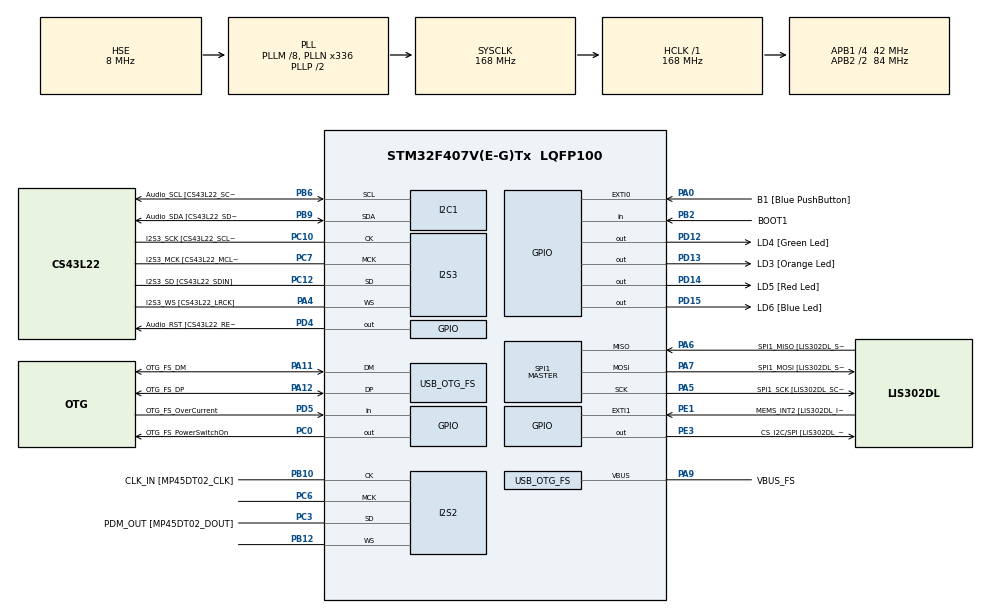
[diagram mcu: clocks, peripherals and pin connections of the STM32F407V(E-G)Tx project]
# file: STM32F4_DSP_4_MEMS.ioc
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Dma.Request0=SPI2_RX
Dma.Request1=SPI3_TX
Dma.SPI2_RX.0.Direction=DMA_PERIPH_TO_MEMORY
Dma.SPI2_RX.0.FIFOMode=DMA_FIFOMODE_DISABLE
Dma.SPI2_RX.0.Instance=DMA1_Stream3
Dma.SPI2_RX.0.MemDataAlignment=DMA_MDATAALIGN_HALFWORD
Dma.SPI2_RX.0.MemInc=DMA_MINC_ENABLE
Dma.SPI2_RX.0.Mode=DMA_CIRCULAR
Dma.SPI2_RX.0.PeriphDataAlignment=DMA_PDATAALIGN_HALFWORD
Dma.SPI2_RX.0.PeriphInc=DMA_PINC_DISABLE
Dma.SPI2_RX.0.Priority=DMA_PRIORITY_MEDIUM
Dma.SPI3_TX.1.Direction=DMA_MEMORY_TO_PERIPH
Dma.SPI3_TX.1.FIFOMode=DMA_FIFOMODE_DISABLE
Dma.SPI3_TX.1.Instance=DMA1_Stream5
Dma.SPI3_TX.1.MemDataAlignment=DMA_MDATAALIGN_HALFWORD
Dma.SPI3_TX.1.MemInc=DMA_MINC_ENABLE
Dma.SPI3_TX.1.Mode=DMA_NORMAL
Dma.SPI3_TX.1.PeriphDataAlignment=DMA_PDATAALIGN_HALFWORD
Dma.SPI3_TX.1.PeriphInc=DMA_PINC_DISABLE
Dma.SPI3_TX.1.Priority=DMA_PRIORITY_HIGH
I2S2.AudioFreq=I2S_AUDIOFREQ_16K
I2S2.ErrorAudioFreq=1.9 %
I2S2.FullDuplexMode=I2S_FULLDUPLEXMODE_DISABLE
I2S2.Instance=SPI$Index
I2S2.Mode=I2S_MODE_MASTER_RX
I2S2.RealAudioFreq=16.304 KHz
I2S2.VirtualMode=I2S_MODE_MASTER
I2S3.AudioFreq-Half_Duplex_Master=I2S_AUDIOFREQ_96K
I2S3.ErrorAudioFreq=-2.34 %
I2S3.ErrorAudioFreq-Half_Duplex_Master=0.8 %
I2S3.FullDuplexMode=I2S_FULLDUPLEXMODE_DISABLE
I2S3.Instance=SPI$Index
I2S3.RealAudioFreq=93.75 KHz
I2S3.RealAudioFreq-Half_Duplex_Master=96.774 KHz
I2S3.VirtualMode=I2S_MODE_MASTER
Mcu.Family=STM32F4
Mcu.Name=STM32F407V(E-G)Tx
Mcu.Package=LQFP100
NVIC.DMA1_Stream3_IRQn=true\:0\:0\:false\:false\:true\:false\:true\:true
NVIC.DMA1_Stream5_IRQn=true\:0\:0\:false\:false\:true\:false\:true\:true
NVIC.OTG_FS_IRQn=true\:0\:0\:false\:false\:true\:true\:true\:true
NVIC.PriorityGroup=NVIC_PRIORITYGROUP_0
PA0-WKUP.GPIO_Label=B1 [Blue PushButton]
PA0-WKUP.GPIO_ModeDefaultEXTI=GPIO_MODE_EVT_RISING
PA0-WKUP.GPIO_PuPd=GPIO_NOPULL
PA0-WKUP.Signal=GPXTI0
PA10.GPIO_Label=OTG_FS_ID
PA10.GPIO_Mode=GPIO_MODE_AF_PP
PA10.GPIO_PuPd=GPIO_NOPULL
PA10.GPIO_Speed=GPIO_SPEED_FREQ_LOW
PA10.Signal=USB_OTG_FS_ID
PA11.GPIO_Label=OTG_FS_DM
PA11.GPIO_Mode=GPIO_MODE_AF_PP
PA11.GPIO_PuPd=GPIO_NOPULL
PA11.GPIO_Speed=GPIO_SPEED_FREQ_LOW
PA11.Mode=Device_Only
PA11.Signal=USB_OTG_FS_DM
PA12.GPIO_Label=OTG_FS_DP
PA12.GPIO_Mode=GPIO_MODE_AF_PP
PA12.GPIO_PuPd=GPIO_NOPULL
PA12.GPIO_Speed=GPIO_SPEED_FREQ_LOW
PA12.Mode=Device_Only
PA12.Signal=USB_OTG_FS_DP
PA13.GPIO_Label=SWDIO
PA13.Mode=Serial_Wire
PA13.Signal=SYS_JTMS-SWDIO
PA14.GPIO_Label=SWCLK
PA14.Mode=Serial_Wire
PA14.Signal=SYS_JTCK-SWCLK
PA4.GPIO_Label=I2S3_WS [CS43L22_LRCK]
PA4.GPIO_Mode=GPIO_MODE_AF_PP
PA4.GPIO_PuPd=GPIO_NOPULL
PA4.GPIO_Speed=GPIO_SPEED_FREQ_LOW
PA4.Mode=Half_Duplex_Master
PA4.Signal=I2S3_WS
PA5.GPIO_Label=SPI1_SCK [LIS302DL_SCL/SPC]
PA5.GPIO_Mode=GPIO_MODE_AF_PP
PA5.GPIO_PuPd=GPIO_NOPULL
PA5.GPIO_Speed=GPIO_SPEED_FREQ_LOW
PA5.Mode=Full_Duplex_Master
PA5.Signal=SPI1_SCK
PA6.GPIO_Label=SPI1_MISO [LIS302DL_SDO]
PA6.GPIO_Mode=GPIO_MODE_AF_PP
PA6.GPIO_PuPd=GPIO_NOPULL
PA6.GPIO_Speed=GPIO_SPEED_FREQ_LOW
PA6.Mode=Full_Duplex_Master
PA6.Signal=SPI1_MISO
PA7.GPIO_Label=SPI1_MOSI [LIS302DL_SDA/SDI/SDO]
PA7.GPIO_Mode=GPIO_MODE_AF_PP
PA7.GPIO_PuPd=GPIO_NOPULL
PA7.GPIO_Speed=GPIO_SPEED_FREQ_LOW
PA7.Mode=Full_Duplex_Master
PA7.Signal=SPI1_MOSI
PA9.GPIO_Label=VBUS_FS
PA9.GPIO_Mode=GPIO_MODE_INPUT
PA9.GPIO_PuPd=GPIO_NOPULL
PA9.Mode=Activate_VBUS
PA9.Signal=USB_OTG_FS_VBUS
PB10.GPIO_Label=CLK_IN [MP45DT02_CLK]
PB10.GPIO_Mode=GPIO_MODE_AF_PP
PB10.GPIO_PuPd=GPIO_NOPULL
PB10.GPIO_Speed=GPIO_SPEED_FREQ_LOW
PB10.Mode=Half_Duplex_Master
PB10.Signal=I2S2_CK
PB12.Mode=Half_Duplex_Master
PB12.Signal=I2S2_WS
PB2.GPIO_Label=BOOT1
PB2.GPIO_Mode=GPIO_MODE_INPUT
PB2.GPIO_PuPd=GPIO_NOPULL
PB2.Signal=GPIO_Input
PB3.GPIO_Label=SWO
PB3.Signal=SYS_JTDO-SWO
PB6.GPIO_Label=Audio_SCL [CS43L22_SCL]
PB6.GPIO_Mode=GPIO_MODE_AF_OD
PB6.GPIO_Pu=GPIO_PULLUP
PB6.GPIO_PuPd=GPIO_NOPULL
PB6.GPIO_Speed=GPIO_SPEED_FREQ_LOW
PB6.Mode=I2C
PB6.Signal=I2C1_SCL
PB9.GPIO_Label=Audio_SDA [CS43L22_SDA]
PB9.GPIO_Mode=GPIO_MODE_AF_OD
PB9.GPIO_Pu=GPIO_PULLUP
PB9.GPIO_PuPd=GPIO_NOPULL
PB9.GPIO_Speed=GPIO_SPEED_FREQ_LOW
PB9.Mode=I2C
PB9.Signal=I2C1_SDA
PC0.GPIO_Label=OTG_FS_PowerSwitchOn
PC0.GPIO_PuPd=GPIO_NOPULL
PC0.GPIO_Speed=GPIO_SPEED_FREQ_LOW
PC0.PinState=GPIO_PIN_SET
PC0.Signal=GPIO_Output
PC10.GPIO_Label=I2S3_SCK [CS43L22_SCLK]
PC10.GPIO_Mode=GPIO_MODE_AF_PP
PC10.GPIO_PuPd=GPIO_NOPULL
PC10.GPIO_Speed=GPIO_SPEED_FREQ_LOW
PC10.Mode=Half_Duplex_Master
PC10.Signal=I2S3_CK
PC12.GPIO_Label=I2S3_SD [CS43L22_SDIN]
PC12.GPIO_Mode=GPIO_MODE_AF_PP
PC12.GPIO_PuPd=GPIO_NOPULL
PC12.GPIO_Speed=GPIO_SPEED_FREQ_LOW
PC12.Mode=Half_Duplex_Master
PC12.Signal=I2S3_SD
PC14-OSC32_IN.GPIO_Label=PC14-OSC32_IN
PC14-OSC32_IN.Mode=LSE-External-Oscillator
PC14-OSC32_IN.Signal=RCC_OSC32_IN
PC15-OSC32_OUT.GPIO_Label=PC15-OSC32_OUT
PC15-OSC32_OUT.Mode=LSE-External-Oscillator
PC15-OSC32_OUT.Signal=RCC_OSC32_OUT
PC3.GPIO_Label=PDM_OUT [MP45DT02_DOUT]
PC3.GPIO_Mode=GPIO_MODE_AF_PP
PC3.GPIO_PuPd=GPIO_NOPULL
PC3.GPIO_Speed=GPIO_SPEED_FREQ_LOW
PC3.Mode=Half_Duplex_Master
PC3.Signal=I2S2_SD
PC6.Mode=Master_Clock_Activated
PC6.Signal=I2S2_MCK
PC7.GPIO_Label=I2S3_MCK [CS43L22_MCLK]
PC7.GPIO_Mode=GPIO_MODE_AF_PP
PC7.GPIO_PuPd=GPIO_NOPULL
PC7.GPIO_Speed=GPIO_SPEED_FREQ_LOW
PC7.Mode=Master_Clock_Activated
PC7.Signal=I2S3_MCK
PD12.GPIO_Label=LD4 [Green Led]
PD12.GPIO_PuPd=GPIO_NOPULL
PD12.GPIO_Speed=GPIO_SPEED_FREQ_LOW
PD12.Signal=GPIO_Output
PD13.GPIO_Label=LD3 [Orange Led]
PD13.GPIO_PuPd=GPIO_NOPULL
PD13.GPIO_Speed=GPIO_SPEED_FREQ_LOW
PD13.Signal=GPIO_Output
PD14.GPIO_Label=LD5 [Red Led]
PD14.GPIO_PuPd=GPIO_NOPULL
PD14.GPIO_Speed=GPIO_SPEED_FREQ_LOW
PD14.Signal=GPIO_Output
PD15.GPIO_Label=LD6 [Blue Led]
PD15.GPIO_PuPd=GPIO_NOPULL
PD15.GPIO_Speed=GPIO_SPEED_FREQ_LOW
PD15.Signal=GPIO_Output
PD4.GPIO_Label=Audio_RST [CS43L22_RESET]
PD4.GPIO_PuPd=GPIO_NOPULL
PD4.GPIO_Speed=GPIO_SPEED_FREQ_LOW
PD4.Signal=GPIO_Output
PD5.GPIO_Label=OTG_FS_OverCurrent
PD5.GPIO_Mode=GPIO_MODE_INPUT
PD5.GPIO_PuPd=GPIO_NOPULL
PD5.Signal=GPIO_Input
PDM2PCM.CHANNEL1_in_ptr_channels=1
PE1.GPIO_Label=MEMS_INT2 [LIS302DL_INT2]
PE1.GPIO_ModeDefaultEXTI=GPIO_MODE_EVT_RISING
PE1.GPIO_PuPd=GPIO_NOPULL
PE1.Signal=GPXTI1
PE3.GPIO_Label=CS_I2C/SPI [LIS302DL_CS_I2C/SPI]
PE3.GPIO_PuPd=GPIO_NOPULL
PE3.GPIO_Speed=GPIO_SPEED_FREQ_LOW
PE3.Signal=GPIO_Output
PH0-OSC_IN.GPIO_Label=PH0-OSC_IN
PH0-OSC_IN.Mode=HSE-External-Oscillator
PH0-OSC_IN.Signal=RCC_OSC_IN
PH1-OSC_OUT.GPIO_Label=PH1-OSC_OUT
PH1-OSC_OUT.Mode=HSE-External-Oscillator
PH1-OSC_OUT.Signal=RCC_OSC_OUT
ProjectManager.HeapSize=0x200
ProjectManager.StackSize=0x400
ProjectManager.TargetToolchain=STM32CubeIDE
RCC.48MHZClocksFreq_Value=48000000
RCC.AHBFreq_Value=168000000
RCC.APB1CLKDivider=RCC_HCLK_DIV4
RCC.APB1Freq_Value=42000000
RCC.APB1TimFreq_Value=84000000
RCC.APB2CLKDivider=RCC_HCLK_DIV2
RCC.APB2Freq_Value=84000000
RCC.APB2TimFreq_Value=168000000
RCC.CortexFreq_Value=168000000
RCC.HCLKFreq_Value=168000000
RCC.HSE_VALUE=8000000
RCC.HSI_VALUE=16000000
RCC.PLLM=8
RCC.PLLN=336
RCC.PLLQ=7
RCC.SYSCLKFreq_VALUE=168000000
RCC.SYSCLKSource=RCC_SYSCLKSOURCE_PLLCLK
RCC.VCOOutputFreq_Value=336000000
SPI1.BaudRatePrescaler-Full_Duplex_Master=SPI_BAUDRATEPRESCALER_2
SPI1.CalculateBaudRate-Full_Duplex_Master=42.0 MBits/s
SPI1.Direction=SPI_DIRECTION_2LINES
SPI1.Mode=SPI_MODE_MASTER
SPI1.Mode-Full_Duplex_Master=SPI_MODE_MASTER
SPI1.VirtualType=VM_MASTER
USB_OTG_FS.VirtualMode=Device_Only
VP_CRC_VS_CRC.Mode=CRC_Activate
VP_PDM2PCM_VS_PDM2PCM.Mode=PDM2PCM_Channel
board=STM32F407G-DISC1

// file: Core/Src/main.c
/* USER CODE BEGIN Header */
/**
  ******************************************************************************
  * @file           : main.c
  * @brief          : Main program body
  ******************************************************************************
  * @attention
  *
  * Copyright (c) 2023 STMicroelectronics.
  * All rights reserved.
  *
  * This software is licensed under terms that can be found in the LICENSE file
  * in the root directory of this software component.
  * If no LICENSE file comes with this software, it is provided AS-IS.
  *
  ******************************************************************************
  */
/* USER CODE END Header */
#include "main.h"
#include "pdm2pcm.h"

/* USER CODE BEGIN Includes */
#include "stm32f4_discovery_audio.h"
#include "arm_math.h"
#include "math.h"

/* USER CODE END Includes */

/* USER CODE BEGIN PD */
#define SAMPLING_FREQ 44100				//BSP_audio_out sampling frequency
#define OUTPUT_BUFFER_SIZE 16000		//output buffer size

/* USER CODE END PD */

CRC_HandleTypeDef hcrc;

I2C_HandleTypeDef hi2c1;

I2S_HandleTypeDef hi2s2;
I2S_HandleTypeDef hi2s3;
DMA_HandleTypeDef hdma_spi2_rx;
DMA_HandleTypeDef hdma_spi3_tx;

SPI_HandleTypeDef hspi1;

PCD_HandleTypeDef hpcd_USB_OTG_FS;

/* USER CODE BEGIN PV */

	//*** BSP Audio IN ***//
	static uint16_t InternalBuffer[INTERNAL_BUFF_SIZE];		//PDM samples. Size defined stm32f4_discovery_audio.h
	static uint16_t RecBuf[PCM_OUT_SIZE*2];					//PCM stereo samples. Size defined  stm32f4_discovery_audio.h

	//*** BSP Audio OUT ***//
	static int16_t OutputBuffer[OUTPUT_BUFFER_SIZE];		//output signal to BSP_AUDIO_OUT, left+right channels
	volatile uint32_t ITCounter = 0;						//Counter for the transfer to OutputBuffer

	//Distortion
	int16_t Distortion(int16_t InSample)
	{
		float_t OutSample = 0;

		uint16_t high_level = 10000;
		float_t high_gain = 0.5;

		uint16_t low_level1 = 500;
		uint16_t low_level2 = 1500;
		float_t low_gain = 1.0;

		if(abs(InSample) > high_level) OutSample = (float_t)InSample * high_gain;
		else
			if((abs(InSample) > low_level1) && (abs(InSample) < low_level2)) OutSample = (float_t)InSample * low_gain;
			else
				OutSample = (float_t)InSample;

		return (int16_t)OutSample;
	}

/* USER CODE END PV */

void SystemClock_Config(void);
void PeriphCommonClock_Config(void);
static void MX_GPIO_Init(void);
static void MX_DMA_Init(void);
static void MX_I2C1_Init(void);
static void MX_I2S3_Init(void);
static void MX_SPI1_Init(void);
static void MX_I2S2_Init(void);
static void MX_USB_OTG_FS_PCD_Init(void);
static void MX_CRC_Init(void);

int main(void)
{

  /* MCU Configuration--------------------------------------------------------*/

  /* Reset of all peripherals, Initializes the Flash interface and the Systick. */
  HAL_Init();

  /* Configure the system clock */
  SystemClock_Config();

/* Configure the peripherals common clocks */
  PeriphCommonClock_Config();

  /* Initialize all configured peripherals */
  MX_GPIO_Init();
  MX_DMA_Init();
  MX_I2C1_Init();
  MX_I2S3_Init();
  MX_SPI1_Init();
  MX_I2S2_Init();
  MX_USB_OTG_FS_PCD_Init();
  MX_CRC_Init();
  MX_PDM2PCM_Init();
  /* USER CODE BEGIN 2 */

  	  /*** Init wave rec. Audio freq. to be configured for the I2S peripheral. ***/
      if(BSP_AUDIO_IN_Init(DEFAULT_AUDIO_IN_FREQ, DEFAULT_AUDIO_IN_BIT_RESOLUTION, DEFAULT_AUDIO_IN_CHANNEL_NBR) != AUDIO_OK)
      {
    	  Error_Handler();
      }

      /*** Init Audio codec and all related peripherals (I2S, I2C, IOExpander, IOs...) ***/
      if(BSP_AUDIO_OUT_Init(OUTPUT_DEVICE_AUTO, 70, SAMPLING_FREQ) != AUDIO_OK)
      {
    	  Error_Handler();
      }

      /*** Start Audio recording ***/
      BSP_AUDIO_IN_Record((uint16_t*)&InternalBuffer[0], INTERNAL_BUFF_SIZE);

      /*** Start Audio play ***/
      BSP_AUDIO_OUT_Play((uint16_t*)&OutputBuffer[0], OUTPUT_BUFFER_SIZE);

  /* USER CODE END 2 */

  /* Infinite loop */
  /* USER CODE BEGIN WHILE */
  while (1)
  {
	  HAL_GPIO_TogglePin(LD4_GPIO_Port, LD4_Pin);
	  HAL_Delay(500);
    /* USER CODE END WHILE */

  }
}

void SystemClock_Config(void)
{
  RCC_OscInitTypeDef RCC_OscInitStruct = {0};
  RCC_ClkInitTypeDef RCC_ClkInitStruct = {0};

  /** Configure the main internal regulator output voltage
  */
  __HAL_RCC_PWR_CLK_ENABLE();
  __HAL_PWR_VOLTAGESCALING_CONFIG(PWR_REGULATOR_VOLTAGE_SCALE1);

  /** Initializes the RCC Oscillators according to the specified parameters
  * in the RCC_OscInitTypeDef structure.
  */
  RCC_OscInitStruct.OscillatorType = RCC_OSCILLATORTYPE_HSE;
  RCC_OscInitStruct.HSEState = RCC_HSE_ON;
  RCC_OscInitStruct.PLL.PLLState = RCC_PLL_ON;
  RCC_OscInitStruct.PLL.PLLSource = RCC_PLLSOURCE_HSE;
  RCC_OscInitStruct.PLL.PLLM = 8;
  RCC_OscInitStruct.PLL.PLLN = 336;
  RCC_OscInitStruct.PLL.PLLP = RCC_PLLP_DIV2;
  RCC_OscInitStruct.PLL.PLLQ = 7;
  if (HAL_RCC_OscConfig(&RCC_OscInitStruct) != HAL_OK)
  {
    Error_Handler();
  }

  /** Initializes the CPU, AHB and APB buses clocks
  */
  RCC_ClkInitStruct.ClockType = RCC_CLOCKTYPE_HCLK|RCC_CLOCKTYPE_SYSCLK
                              |RCC_CLOCKTYPE_PCLK1|RCC_CLOCKTYPE_PCLK2;
  RCC_ClkInitStruct.SYSCLKSource = RCC_SYSCLKSOURCE_PLLCLK;
  RCC_ClkInitStruct.AHBCLKDivider = RCC_SYSCLK_DIV1;
  RCC_ClkInitStruct.APB1CLKDivider = RCC_HCLK_DIV4;
  RCC_ClkInitStruct.APB2CLKDivider = RCC_HCLK_DIV2;

  if (HAL_RCC_ClockConfig(&RCC_ClkInitStruct, FLASH_LATENCY_5) != HAL_OK)
  {
    Error_Handler();
  }
}

void PeriphCommonClock_Config(void)
{
  RCC_PeriphCLKInitTypeDef PeriphClkInitStruct = {0};

  /** Initializes the peripherals clock
  */
  PeriphClkInitStruct.PeriphClockSelection = RCC_PERIPHCLK_I2S;
  PeriphClkInitStruct.PLLI2S.PLLI2SN = 192;
  PeriphClkInitStruct.PLLI2S.PLLI2SR = 2;
  if (HAL_RCCEx_PeriphCLKConfig(&PeriphClkInitStruct) != HAL_OK)
  {
    Error_Handler();
  }
}

static void MX_CRC_Init(void)
{

  hcrc.Instance = CRC;
  if (HAL_CRC_Init(&hcrc) != HAL_OK)
  {
    Error_Handler();
  }
  __HAL_CRC_DR_RESET(&hcrc);

}

static void MX_I2C1_Init(void)
{

  hi2c1.Instance = I2C1;
  hi2c1.Init.ClockSpeed = 100000;
  hi2c1.Init.DutyCycle = I2C_DUTYCYCLE_2;
  hi2c1.Init.OwnAddress1 = 0;
  hi2c1.Init.AddressingMode = I2C_ADDRESSINGMODE_7BIT;
  hi2c1.Init.DualAddressMode = I2C_DUALADDRESS_DISABLE;
  hi2c1.Init.OwnAddress2 = 0;
  hi2c1.Init.GeneralCallMode = I2C_GENERALCALL_DISABLE;
  hi2c1.Init.NoStretchMode = I2C_NOSTRETCH_DISABLE;
  if (HAL_I2C_Init(&hi2c1) != HAL_OK)
  {
    Error_Handler();
  }

}

static void MX_I2S2_Init(void)
{

  hi2s2.Instance = SPI2;
  hi2s2.Init.Mode = I2S_MODE_MASTER_RX;
  hi2s2.Init.Standard = I2S_STANDARD_PHILIPS;
  hi2s2.Init.DataFormat = I2S_DATAFORMAT_16B;
  hi2s2.Init.MCLKOutput = I2S_MCLKOUTPUT_ENABLE;
  hi2s2.Init.AudioFreq = I2S_AUDIOFREQ_16K;
  hi2s2.Init.CPOL = I2S_CPOL_LOW;
  hi2s2.Init.ClockSource = I2S_CLOCK_PLL;
  hi2s2.Init.FullDuplexMode = I2S_FULLDUPLEXMODE_DISABLE;
  if (HAL_I2S_Init(&hi2s2) != HAL_OK)
  {
    Error_Handler();
  }

}

static void MX_I2S3_Init(void)
{

  hi2s3.Instance = SPI3;
  hi2s3.Init.Mode = I2S_MODE_MASTER_TX;
  hi2s3.Init.Standard = I2S_STANDARD_PHILIPS;
  hi2s3.Init.DataFormat = I2S_DATAFORMAT_16B;
  hi2s3.Init.MCLKOutput = I2S_MCLKOUTPUT_ENABLE;
  hi2s3.Init.AudioFreq = I2S_AUDIOFREQ_96K;
  hi2s3.Init.CPOL = I2S_CPOL_LOW;
  hi2s3.Init.ClockSource = I2S_CLOCK_PLL;
  hi2s3.Init.FullDuplexMode = I2S_FULLDUPLEXMODE_DISABLE;
  if (HAL_I2S_Init(&hi2s3) != HAL_OK)
  {
    Error_Handler();
  }

}

static void MX_SPI1_Init(void)
{

  /* SPI1 parameter configuration*/
  hspi1.Instance = SPI1;
  hspi1.Init.Mode = SPI_MODE_MASTER;
  hspi1.Init.Direction = SPI_DIRECTION_2LINES;
  hspi1.Init.DataSize = SPI_DATASIZE_8BIT;
  hspi1.Init.CLKPolarity = SPI_POLARITY_LOW;
  hspi1.Init.CLKPhase = SPI_PHASE_1EDGE;
  hspi1.Init.NSS = SPI_NSS_SOFT;
  hspi1.Init.BaudRatePrescaler = SPI_BAUDRATEPRESCALER_2;
  hspi1.Init.FirstBit = SPI_FIRSTBIT_MSB;
  hspi1.Init.TIMode = SPI_TIMODE_DISABLE;
  hspi1.Init.CRCCalculation = SPI_CRCCALCULATION_DISABLE;
  hspi1.Init.CRCPolynomial = 10;
  if (HAL_SPI_Init(&hspi1) != HAL_OK)
  {
    Error_Handler();
  }

}

static void MX_USB_OTG_FS_PCD_Init(void)
{

  hpcd_USB_OTG_FS.Instance = USB_OTG_FS;
  hpcd_USB_OTG_FS.Init.dev_endpoints = 4;
  hpcd_USB_OTG_FS.Init.speed = PCD_SPEED_FULL;
  hpcd_USB_OTG_FS.Init.dma_enable = DISABLE;
  hpcd_USB_OTG_FS.Init.phy_itface = PCD_PHY_EMBEDDED;
  hpcd_USB_OTG_FS.Init.Sof_enable = DISABLE;
  hpcd_USB_OTG_FS.Init.low_power_enable = DISABLE;
  hpcd_USB_OTG_FS.Init.lpm_enable = DISABLE;
  hpcd_USB_OTG_FS.Init.vbus_sensing_enable = ENABLE;
  hpcd_USB_OTG_FS.Init.use_dedicated_ep1 = DISABLE;
  if (HAL_PCD_Init(&hpcd_USB_OTG_FS) != HAL_OK)
  {
    Error_Handler();
  }

}

static void MX_DMA_Init(void)
{

  /* DMA controller clock enable */
  __HAL_RCC_DMA1_CLK_ENABLE();

  /* DMA interrupt init */
  /* DMA1_Stream3_IRQn interrupt configuration */
  HAL_NVIC_SetPriority(DMA1_Stream3_IRQn, 0, 0);
  HAL_NVIC_EnableIRQ(DMA1_Stream3_IRQn);
  /* DMA1_Stream5_IRQn interrupt configuration */
  HAL_NVIC_SetPriority(DMA1_Stream5_IRQn, 0, 0);
  HAL_NVIC_EnableIRQ(DMA1_Stream5_IRQn);

}

static void MX_GPIO_Init(void)
{
  GPIO_InitTypeDef GPIO_InitStruct = {0};

  /* GPIO Ports Clock Enable */
  __HAL_RCC_GPIOE_CLK_ENABLE();
  __HAL_RCC_GPIOC_CLK_ENABLE();
  __HAL_RCC_GPIOH_CLK_ENABLE();
  __HAL_RCC_GPIOA_CLK_ENABLE();
  __HAL_RCC_GPIOB_CLK_ENABLE();
  __HAL_RCC_GPIOD_CLK_ENABLE();

  /*Configure GPIO pin Output Level */
  HAL_GPIO_WritePin(CS_I2C_SPI_GPIO_Port, CS_I2C_SPI_Pin, GPIO_PIN_RESET);

  /*Configure GPIO pin Output Level */
  HAL_GPIO_WritePin(OTG_FS_PowerSwitchOn_GPIO_Port, OTG_FS_PowerSwitchOn_Pin, GPIO_PIN_SET);

  /*Configure GPIO pin Output Level */
  HAL_GPIO_WritePin(GPIOD, LD4_Pin|LD3_Pin|LD5_Pin|LD6_Pin
                          |Audio_RST_Pin, GPIO_PIN_RESET);

  /*Configure GPIO pin : CS_I2C_SPI_Pin */
  GPIO_InitStruct.Pin = CS_I2C_SPI_Pin;
  GPIO_InitStruct.Mode = GPIO_MODE_OUTPUT_PP;
  GPIO_InitStruct.Pull = GPIO_NOPULL;
  GPIO_InitStruct.Speed = GPIO_SPEED_FREQ_LOW;
  HAL_GPIO_Init(CS_I2C_SPI_GPIO_Port, &GPIO_InitStruct);

  /*Configure GPIO pin : OTG_FS_PowerSwitchOn_Pin */
  GPIO_InitStruct.Pin = OTG_FS_PowerSwitchOn_Pin;
  GPIO_InitStruct.Mode = GPIO_MODE_OUTPUT_PP;
  GPIO_InitStruct.Pull = GPIO_NOPULL;
  GPIO_InitStruct.Speed = GPIO_SPEED_FREQ_LOW;
  HAL_GPIO_Init(OTG_FS_PowerSwitchOn_GPIO_Port, &GPIO_InitStruct);

  /*Configure GPIO pin : B1_Pin */
  GPIO_InitStruct.Pin = B1_Pin;
  GPIO_InitStruct.Mode = GPIO_MODE_EVT_RISING;
  GPIO_InitStruct.Pull = GPIO_NOPULL;
  HAL_GPIO_Init(B1_GPIO_Port, &GPIO_InitStruct);

  /*Configure GPIO pin : BOOT1_Pin */
  GPIO_InitStruct.Pin = BOOT1_Pin;
  GPIO_InitStruct.Mode = GPIO_MODE_INPUT;
  GPIO_InitStruct.Pull = GPIO_NOPULL;
  HAL_GPIO_Init(BOOT1_GPIO_Port, &GPIO_InitStruct);

  /*Configure GPIO pins : LD4_Pin LD3_Pin LD5_Pin LD6_Pin
                           Audio_RST_Pin */
  GPIO_InitStruct.Pin = LD4_Pin|LD3_Pin|LD5_Pin|LD6_Pin
                          |Audio_RST_Pin;
  GPIO_InitStruct.Mode = GPIO_MODE_OUTPUT_PP;
  GPIO_InitStruct.Pull = GPIO_NOPULL;
  GPIO_InitStruct.Speed = GPIO_SPEED_FREQ_LOW;
  HAL_GPIO_Init(GPIOD, &GPIO_InitStruct);

  /*Configure GPIO pin : OTG_FS_OverCurrent_Pin */
  GPIO_InitStruct.Pin = OTG_FS_OverCurrent_Pin;
  GPIO_InitStruct.Mode = GPIO_MODE_INPUT;
  GPIO_InitStruct.Pull = GPIO_NOPULL;
  HAL_GPIO_Init(OTG_FS_OverCurrent_GPIO_Port, &GPIO_InitStruct);

  /*Configure GPIO pin : MEMS_INT2_Pin */
  GPIO_InitStruct.Pin = MEMS_INT2_Pin;
  GPIO_InitStruct.Mode = GPIO_MODE_EVT_RISING;
  GPIO_InitStruct.Pull = GPIO_NOPULL;
  HAL_GPIO_Init(MEMS_INT2_GPIO_Port, &GPIO_InitStruct);

}

/* USER CODE BEGIN 4 */

	/*** MEMS data processing BEGIN ***/
    void BSP_AUDIO_IN_HalfTransfer_CallBack(void)
    {
    	/* PDM to PCM data convert */
    	BSP_AUDIO_IN_PDMToPCM((uint16_t*)&InternalBuffer[0], (uint16_t*)&RecBuf[0]);

    	/* Copy PCM data in internal buffer */
    	memcpy((uint16_t*)&OutputBuffer[ITCounter * (PCM_OUT_SIZE*2)], RecBuf, PCM_OUT_SIZE*4);

    	if(ITCounter == (OUTPUT_BUFFER_SIZE/(PCM_OUT_SIZE*2))-1)
    		ITCounter = 0;
    	else
    		ITCounter++;
    }

    void BSP_AUDIO_IN_TransferComplete_CallBack(void)
    {
    	/* PDM to PCM data convert */
    	BSP_AUDIO_IN_PDMToPCM((uint16_t*)&InternalBuffer[INTERNAL_BUFF_SIZE/2], (uint16_t*)&RecBuf[0]);

    	/* Copy PCM data in internal buffer */
    	memcpy((uint16_t*)&OutputBuffer[ITCounter * (PCM_OUT_SIZE*2)], RecBuf, PCM_OUT_SIZE*4);

    	if(ITCounter == (OUTPUT_BUFFER_SIZE/(PCM_OUT_SIZE*2))-1)
    		ITCounter = 0;
    	else
    		ITCounter++;

    	HAL_GPIO_TogglePin(LD6_GPIO_Port, LD6_Pin);
    }
    /*** MEMS data processing END ***/

    /*** Audio data output BEGIN ***/
    void BSP_AUDIO_OUT_HalfTransfer_CallBack(void)
    {

    	// cia reikia iki puses

    }

    void BSP_AUDIO_OUT_TransferComplete_CallBack(void)
    {
    	//Back to output buffer beginning
    	BSP_AUDIO_OUT_ChangeBuffer((uint16_t*)&OutputBuffer[0], OUTPUT_BUFFER_SIZE);

//		for(int i = 0; i < OUTPUT_BUFFER_SIZE; i++)
//		{
//			//LP filter demo
//			//Output_Signal[i] = LP_filter(Input_Signal[i]);
//
//			//Distortion demo
//			//OutputBuffer[i] = Distortion(OutputBuffer[i]);
//
//
//		}

    	// efect for other half

    	HAL_GPIO_TogglePin(LD3_GPIO_Port, LD3_Pin);
    }
    /*** Audio data output END ***/

/* USER CODE END 4 */

void Error_Handler(void)
{
  /* USER CODE BEGIN Error_Handler_Debug */
  /* User can add his own implementation to report the HAL error return state */
	HAL_GPIO_WritePin(LD5_GPIO_Port, LD5_Pin, GPIO_PIN_SET);

  __disable_irq();
  while (1)
  {
  }
  /* USER CODE END Error_Handler_Debug */
}
